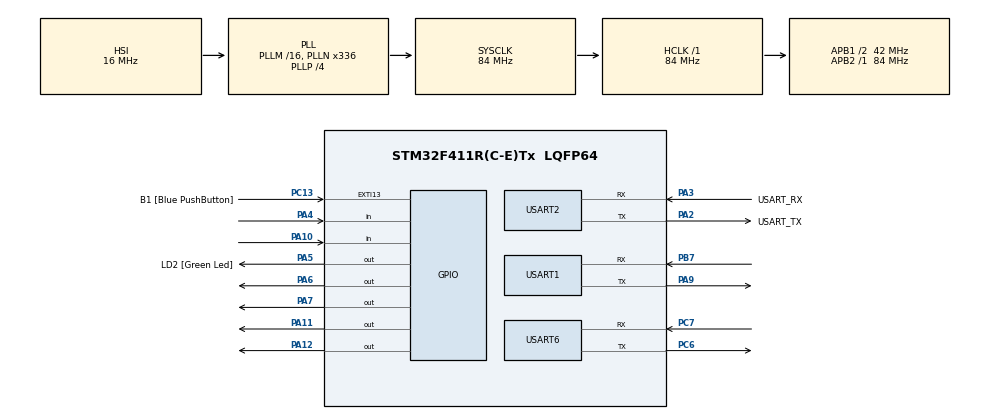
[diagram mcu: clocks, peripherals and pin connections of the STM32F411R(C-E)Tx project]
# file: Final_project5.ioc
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Mcu.Family=STM32F4
Mcu.Name=STM32F411R(C-E)Tx
Mcu.Package=LQFP64
NVIC.PriorityGroup=NVIC_PRIORITYGROUP_0
PA10.Signal=GPIO_Input
PA11.Signal=GPIO_Output
PA12.Signal=GPIO_Output
PA13.GPIO_Label=TMS
PA13.Mode=Serial_Wire
PA13.Signal=SYS_JTMS-SWDIO
PA14.GPIO_Label=TCK
PA14.Mode=Serial_Wire
PA14.Signal=SYS_JTCK-SWCLK
PA2.GPIO_Label=USART_TX
PA2.Mode=Asynchronous
PA2.Signal=USART2_TX
PA3.GPIO_Label=USART_RX
PA3.Mode=Asynchronous
PA3.Signal=USART2_RX
PA4.Signal=GPIO_Input
PA5.GPIO_Label=LD2 [Green Led]
PA5.Signal=GPIO_Output
PA6.Signal=GPIO_Output
PA7.Signal=GPIO_Output
PA9.Mode=Asynchronous
PA9.Signal=USART1_TX
PB3.GPIO_Label=SWO
PB3.Signal=SYS_JTDO-SWO
PB7.Mode=Asynchronous
PB7.Signal=USART1_RX
PC13-ANTI_TAMP.GPIO_Label=B1 [Blue PushButton]
PC13-ANTI_TAMP.GPIO_ModeDefaultEXTI=GPIO_MODE_IT_FALLING
PC13-ANTI_TAMP.Signal=GPXTI13
PC14-OSC32_IN.Mode=LSE-External-Oscillator
PC14-OSC32_IN.Signal=RCC_OSC32_IN
PC15-OSC32_OUT.Mode=LSE-External-Oscillator
PC15-OSC32_OUT.Signal=RCC_OSC32_OUT
PC6.Mode=Asynchronous
PC6.Signal=USART6_TX
PC7.Mode=Asynchronous
PC7.Signal=USART6_RX
PH0\ -\ OSC_IN.Mode=HSE-External-Clock-Source
PH0\ -\ OSC_IN.Signal=RCC_OSC_IN
PH1\ -\ OSC_OUT.Mode=HSE-External-Clock-Source
PH1\ -\ OSC_OUT.Signal=RCC_OSC_OUT
ProjectManager.HeapSize=0x200
ProjectManager.StackSize=0x400
ProjectManager.TargetToolchain=STM32CubeIDE
RCC.48MHZClocksFreq_Value=84000000
RCC.AHBFreq_Value=84000000
RCC.APB1CLKDivider=RCC_HCLK_DIV2
RCC.APB1Freq_Value=42000000
RCC.APB1TimFreq_Value=84000000
RCC.APB2Freq_Value=84000000
RCC.APB2TimFreq_Value=84000000
RCC.CortexFreq_Value=84000000
RCC.FLatency-AdvancedSettings=FLASH_LATENCY_2
RCC.HCLKFreq_Value=84000000
RCC.HSE_VALUE=8000000
RCC.HSI_VALUE=16000000
RCC.PLLN=336
RCC.PLLP=RCC_PLLP_DIV4
RCC.SYSCLKFreq_VALUE=84000000
RCC.SYSCLKSource=RCC_SYSCLKSOURCE_PLLCLK
RCC.VCOOutputFreq_Value=336000000
USART1.VirtualMode=VM_ASYNC
USART2.VirtualMode=VM_ASYNC
USART6.VirtualMode=VM_ASYNC
board=NUCLEO-F411RE

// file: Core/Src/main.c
/* USER CODE BEGIN Header */
/**
  ******************************************************************************
  * @file           : main.c
  * @brief          : Main program body
  ******************************************************************************
  * @attention
  *
  * <h2><center>&copy; Copyright (c) 2021 STMicroelectronics.
  * All rights reserved.</center></h2>
  *
  * This software component is licensed by ST under BSD 3-Clause license,
  * the "License"; You may not use this file except in compliance with the
  * License. You may obtain a copy of the License at:
  *                        opensource.org/licenses/BSD-3-Clause
  *
  ******************************************************************************
  */
/* USER CODE END Header */
#include "main.h"
#include "string.h"

UART_HandleTypeDef huart1;
UART_HandleTypeDef huart2;
UART_HandleTypeDef huart6;

void SystemClock_Config(void);
static void MX_GPIO_Init(void);
static void MX_USART2_UART_Init(void);
static void MX_USART1_UART_Init(void);
static void MX_USART6_UART_Init(void);

/* USER CODE BEGIN 0 */
uint32_t local_time,sensor_time;
uint32_t dist;
_Bool x = 0;
char distance[100];

uint32_t getUs(void) {

uint32_t usTicks = HAL_RCC_GetSysClockFreq() / 1000000;

register uint32_t ms, cycle_cnt;

do {

ms = HAL_GetTick();

cycle_cnt = SysTick->VAL;

} while (ms != HAL_GetTick());

return (ms * 1000) + (usTicks * 1000 - cycle_cnt) / usTicks;

}
void delayUs(uint16_t micros) {

uint32_t start = getUs();

while (getUs()-start < (uint32_t) micros) {

	asm("nop");
}
}

uint32_t read(void){
	local_time =0;
	HAL_GPIO_WritePin(GPIOA, GPIO_PIN_6, GPIO_PIN_RESET);
	delayUs(2);

	HAL_GPIO_WritePin(GPIOA, GPIO_PIN_6, GPIO_PIN_SET);
	delayUs(10);
	HAL_GPIO_WritePin(GPIOA, GPIO_PIN_6, GPIO_PIN_RESET);

	while (!(HAL_GPIO_ReadPin(GPIOA, GPIO_PIN_4)));
	while( HAL_GPIO_ReadPin(GPIOA, GPIO_PIN_4))
	{
		local_time++;
		delayUs(1);
	}
	return local_time;
}
/* USER CODE END 0 */

int main(void)
{

  /* MCU Configuration--------------------------------------------------------*/

  /* Reset of all peripherals, Initializes the Flash interface and the Systick. */
  HAL_Init();

  /* Configure the system clock */
  SystemClock_Config();

  /* Initialize all configured peripherals */
  MX_GPIO_Init();
  MX_USART2_UART_Init();
  MX_USART1_UART_Init();
  MX_USART6_UART_Init();

  /* Infinite loop */
  /* USER CODE BEGIN WHILE */
  HAL_GPIO_WritePin(GPIOA, GPIO_PIN_7, GPIO_PIN_SET);
  HAL_GPIO_WritePin(GPIOA, GPIO_PIN_12, GPIO_PIN_SET);
  HAL_GPIO_WritePin(GPIOA, GPIO_PIN_11, GPIO_PIN_RESET);

  char state[10];
  char c2[100] ;
  while (1)
  {

    /* USER CODE BEGIN 3 */

	  sensor_time = read();
	  	dist = sensor_time * 0.34/2;
	  	sprintf(distance,"%d",dist);
	  	HAL_UART_Transmit(&huart2, &distance, 5, 100);
	    HAL_UART_Transmit(&huart1, &distance, 5, 100);

	  	if(HAL_GPIO_ReadPin(GPIOA, GPIO_PIN_10)) {
	  		x= 0;
	  		HAL_GPIO_WritePin(GPIOA, GPIO_PIN_7, GPIO_PIN_SET);
	  		HAL_GPIO_WritePin(GPIOA, GPIO_PIN_12, GPIO_PIN_SET);
	  		HAL_GPIO_WritePin(GPIOA, GPIO_PIN_11, GPIO_PIN_RESET);

	  	}

	  while(x==0){
		  sensor_time = read();
		  dist = sensor_time * 0.34/2;

		  if(dist <= 50) {
			  HAL_Delay(3000);
			  x= 1;
		  }

	  }

	  if(dist >= 150) {
		  HAL_GPIO_WritePin(GPIOA, GPIO_PIN_7, GPIO_PIN_SET);
		  HAL_GPIO_WritePin(GPIOA, GPIO_PIN_12, GPIO_PIN_SET);
		  HAL_GPIO_WritePin(GPIOA, GPIO_PIN_11, GPIO_PIN_RESET);

	  }
	else {
		  HAL_GPIO_WritePin(GPIOA, GPIO_PIN_7, GPIO_PIN_RESET);
		  HAL_GPIO_WritePin(GPIOA, GPIO_PIN_12, GPIO_PIN_RESET);
		  HAL_GPIO_WritePin(GPIOA, GPIO_PIN_11, GPIO_PIN_SET);

	  }

  }

  /* USER CODE END 3 */
}
    /* USER CODE END WHILE */

void SystemClock_Config(void)
{
  RCC_OscInitTypeDef RCC_OscInitStruct = {0};
  RCC_ClkInitTypeDef RCC_ClkInitStruct = {0};

  /** Configure the main internal regulator output voltage
  */
  __HAL_RCC_PWR_CLK_ENABLE();
  __HAL_PWR_VOLTAGESCALING_CONFIG(PWR_REGULATOR_VOLTAGE_SCALE1);
  /** Initializes the RCC Oscillators according to the specified parameters
  * in the RCC_OscInitTypeDef structure.
  */
  RCC_OscInitStruct.OscillatorType = RCC_OSCILLATORTYPE_HSI;
  RCC_OscInitStruct.HSIState = RCC_HSI_ON;
  RCC_OscInitStruct.HSICalibrationValue = RCC_HSICALIBRATION_DEFAULT;
  RCC_OscInitStruct.PLL.PLLState = RCC_PLL_ON;
  RCC_OscInitStruct.PLL.PLLSource = RCC_PLLSOURCE_HSI;
  RCC_OscInitStruct.PLL.PLLM = 16;
  RCC_OscInitStruct.PLL.PLLN = 336;
  RCC_OscInitStruct.PLL.PLLP = RCC_PLLP_DIV4;
  RCC_OscInitStruct.PLL.PLLQ = 4;
  if (HAL_RCC_OscConfig(&RCC_OscInitStruct) != HAL_OK)
  {
    Error_Handler();
  }
  /** Initializes the CPU, AHB and APB buses clocks
  */
  RCC_ClkInitStruct.ClockType = RCC_CLOCKTYPE_HCLK|RCC_CLOCKTYPE_SYSCLK
                              |RCC_CLOCKTYPE_PCLK1|RCC_CLOCKTYPE_PCLK2;
  RCC_ClkInitStruct.SYSCLKSource = RCC_SYSCLKSOURCE_PLLCLK;
  RCC_ClkInitStruct.AHBCLKDivider = RCC_SYSCLK_DIV1;
  RCC_ClkInitStruct.APB1CLKDivider = RCC_HCLK_DIV2;
  RCC_ClkInitStruct.APB2CLKDivider = RCC_HCLK_DIV1;

  if (HAL_RCC_ClockConfig(&RCC_ClkInitStruct, FLASH_LATENCY_2) != HAL_OK)
  {
    Error_Handler();
  }
}

static void MX_USART1_UART_Init(void)
{

  huart1.Instance = USART1;
  huart1.Init.BaudRate = 115200;
  huart1.Init.WordLength = UART_WORDLENGTH_8B;
  huart1.Init.StopBits = UART_STOPBITS_1;
  huart1.Init.Parity = UART_PARITY_NONE;
  huart1.Init.Mode = UART_MODE_TX_RX;
  huart1.Init.HwFlowCtl = UART_HWCONTROL_NONE;
  huart1.Init.OverSampling = UART_OVERSAMPLING_16;
  if (HAL_UART_Init(&huart1) != HAL_OK)
  {
    Error_Handler();
  }

}

static void MX_USART2_UART_Init(void)
{

  huart2.Instance = USART2;
  huart2.Init.BaudRate = 115200;
  huart2.Init.WordLength = UART_WORDLENGTH_8B;
  huart2.Init.StopBits = UART_STOPBITS_1;
  huart2.Init.Parity = UART_PARITY_NONE;
  huart2.Init.Mode = UART_MODE_TX_RX;
  huart2.Init.HwFlowCtl = UART_HWCONTROL_NONE;
  huart2.Init.OverSampling = UART_OVERSAMPLING_16;
  if (HAL_UART_Init(&huart2) != HAL_OK)
  {
    Error_Handler();
  }

}

static void MX_USART6_UART_Init(void)
{

  huart6.Instance = USART6;
  huart6.Init.BaudRate = 115200;
  huart6.Init.WordLength = UART_WORDLENGTH_8B;
  huart6.Init.StopBits = UART_STOPBITS_1;
  huart6.Init.Parity = UART_PARITY_NONE;
  huart6.Init.Mode = UART_MODE_TX_RX;
  huart6.Init.HwFlowCtl = UART_HWCONTROL_NONE;
  huart6.Init.OverSampling = UART_OVERSAMPLING_16;
  if (HAL_UART_Init(&huart6) != HAL_OK)
  {
    Error_Handler();
  }

}

static void MX_GPIO_Init(void)
{
  GPIO_InitTypeDef GPIO_InitStruct = {0};

  /* GPIO Ports Clock Enable */
  __HAL_RCC_GPIOC_CLK_ENABLE();
  __HAL_RCC_GPIOH_CLK_ENABLE();
  __HAL_RCC_GPIOA_CLK_ENABLE();
  __HAL_RCC_GPIOB_CLK_ENABLE();

  /*Configure GPIO pin Output Level */
  HAL_GPIO_WritePin(GPIOA, LD2_Pin|GPIO_PIN_6|GPIO_PIN_7|GPIO_PIN_11
                          |GPIO_PIN_12, GPIO_PIN_RESET);

  /*Configure GPIO pin : B1_Pin */
  GPIO_InitStruct.Pin = B1_Pin;
  GPIO_InitStruct.Mode = GPIO_MODE_IT_FALLING;
  GPIO_InitStruct.Pull = GPIO_NOPULL;
  HAL_GPIO_Init(B1_GPIO_Port, &GPIO_InitStruct);

  /*Configure GPIO pins : PA4 PA10 */
  GPIO_InitStruct.Pin = GPIO_PIN_4|GPIO_PIN_10;
  GPIO_InitStruct.Mode = GPIO_MODE_INPUT;
  GPIO_InitStruct.Pull = GPIO_NOPULL;
  HAL_GPIO_Init(GPIOA, &GPIO_InitStruct);

  /*Configure GPIO pins : LD2_Pin PA6 PA7 PA11
                           PA12 */
  GPIO_InitStruct.Pin = LD2_Pin|GPIO_PIN_6|GPIO_PIN_7|GPIO_PIN_11
                          |GPIO_PIN_12;
  GPIO_InitStruct.Mode = GPIO_MODE_OUTPUT_PP;
  GPIO_InitStruct.Pull = GPIO_NOPULL;
  GPIO_InitStruct.Speed = GPIO_SPEED_FREQ_LOW;
  HAL_GPIO_Init(GPIOA, &GPIO_InitStruct);

}

void Error_Handler(void)
{
  __disable_irq();
  while (1)
  {
  }
}

/************************ (C) COPYRIGHT STMicroelectronics *****END OF FILE****/
